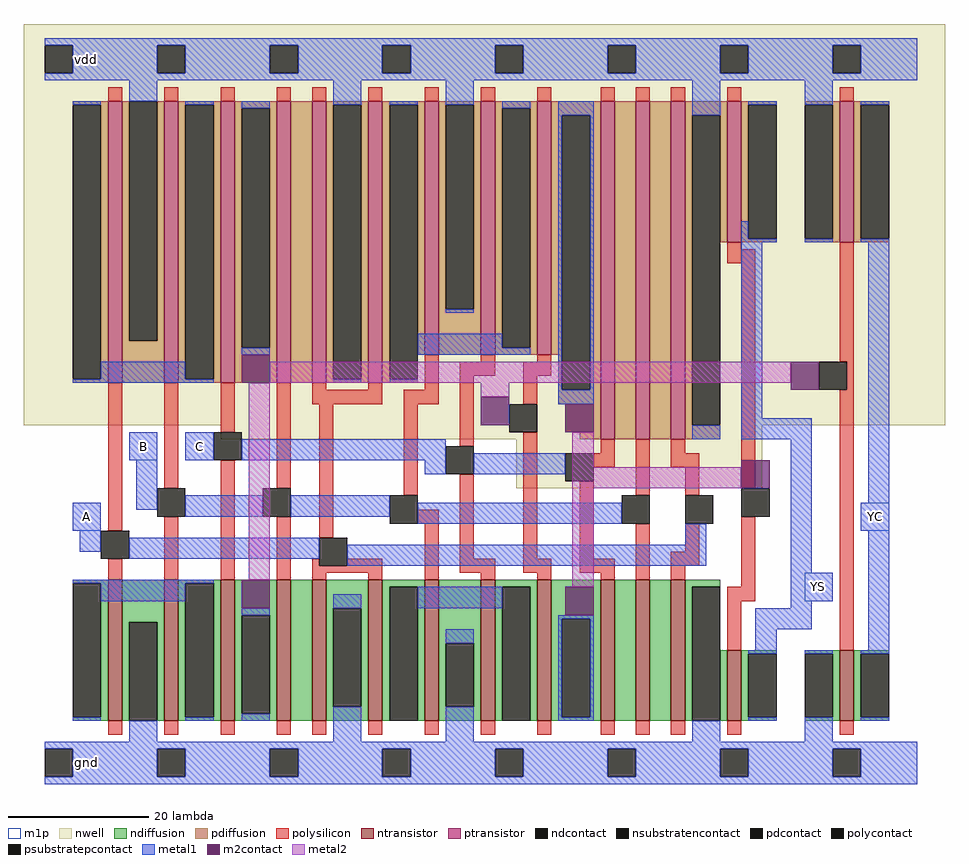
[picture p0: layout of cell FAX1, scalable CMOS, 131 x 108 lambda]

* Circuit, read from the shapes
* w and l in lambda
.subckt FAX1 A B C YS YC
M1 gnd A n1 gnd nfet w=20 l=2
M2 n1 B gnd gnd nfet w=20 l=2
M3 n2 C n1 gnd nfet w=20 l=2
M4 n3 B n2 gnd nfet w=20 l=2
M5 gnd A n3 gnd nfet w=20 l=2
M6 n4 A gnd gnd nfet w=20 l=2
M7 gnd B n4 gnd nfet w=20 l=2
M8 n4 C gnd gnd nfet w=20 l=2
M9 n5 n2 n4 gnd nfet w=20 l=2
M10 n6 C n5 gnd nfet w=20 l=2
M11 n7 B n6 gnd nfet w=20 l=2
M12 gnd A n7 gnd nfet w=20 l=2
M13 YS n5 gnd gnd nfet w=10 l=2
M14 YC n2 gnd gnd nfet w=10 l=2
M15 vdd A n8 vdd pfet w=40 l=2
M16 n8 B vdd vdd pfet w=40 l=2
M17 n2 C n8 vdd pfet w=40 l=2
M18 n9 B n2 vdd pfet w=40 l=2
M19 vdd A n9 vdd pfet w=40 l=2
M20 n10 A vdd vdd pfet w=40 l=2
M21 vdd B n10 vdd pfet w=36 l=2
M22 n10 C vdd vdd pfet w=36 l=2
M23 n5 n2 n10 vdd pfet w=36 l=2
M24 n11 C n5 vdd pfet w=48 l=2
M25 n12 B n11 vdd pfet w=48 l=2
M26 vdd A n12 vdd pfet w=48 l=2
M27 YS n5 vdd vdd pfet w=20 l=2
M28 YC n2 vdd vdd pfet w=20 l=2
.ends

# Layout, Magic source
magic
tech scmos
magscale 1 2
<< nwell >>
rect -10 96 252 210
rect 46 92 200 96
rect 130 78 200 92
<< ntransistor >>
rect 14 12 18 52
rect 30 12 34 52
rect 46 12 50 52
rect 62 12 66 52
rect 72 12 76 52
rect 88 12 92 52
rect 104 12 108 52
rect 120 12 124 52
rect 136 12 140 52
rect 154 12 158 52
rect 164 12 168 52
rect 174 12 178 52
rect 190 12 194 32
rect 222 12 226 32
<< ptransistor >>
rect 14 108 18 188
rect 30 108 34 188
rect 46 108 50 188
rect 62 108 66 188
rect 72 108 76 188
rect 88 108 92 188
rect 104 116 108 188
rect 120 116 124 188
rect 136 116 140 188
rect 154 92 158 188
rect 164 92 168 188
rect 174 92 178 188
rect 190 148 194 188
rect 222 148 226 188
<< ndiffusion >>
rect 4 51 14 52
rect 12 13 14 51
rect 4 12 14 13
rect 18 40 30 52
rect 18 12 20 40
rect 28 12 30 40
rect 34 51 46 52
rect 34 13 36 51
rect 44 13 46 51
rect 34 12 46 13
rect 50 42 62 52
rect 50 14 52 42
rect 60 14 62 42
rect 50 12 62 14
rect 66 12 72 52
rect 76 44 88 52
rect 76 16 78 44
rect 86 16 88 44
rect 76 12 88 16
rect 92 50 104 52
rect 92 12 94 50
rect 102 12 104 50
rect 108 34 120 52
rect 108 16 110 34
rect 118 16 120 34
rect 108 12 120 16
rect 124 50 136 52
rect 124 12 126 50
rect 134 12 136 50
rect 140 41 154 52
rect 140 13 143 41
rect 151 13 154 41
rect 140 12 154 13
rect 158 12 164 52
rect 168 12 174 52
rect 178 50 188 52
rect 178 12 180 50
rect 188 12 190 32
rect 194 31 204 32
rect 194 13 196 31
rect 194 12 204 13
rect 212 31 222 32
rect 220 13 222 31
rect 212 12 222 13
rect 226 31 236 32
rect 226 13 228 31
rect 226 12 236 13
<< pdiffusion >>
rect 4 187 14 188
rect 12 109 14 187
rect 4 108 14 109
rect 18 120 20 188
rect 28 120 30 188
rect 18 108 30 120
rect 34 187 46 188
rect 34 109 36 187
rect 44 109 46 187
rect 34 108 46 109
rect 50 186 62 188
rect 50 118 52 186
rect 60 118 62 186
rect 50 108 62 118
rect 66 108 72 188
rect 76 187 88 188
rect 76 109 78 187
rect 86 109 88 187
rect 76 108 88 109
rect 92 187 104 188
rect 92 109 94 187
rect 102 116 104 187
rect 108 187 120 188
rect 108 129 110 187
rect 118 129 120 187
rect 108 116 120 129
rect 124 186 136 188
rect 124 118 126 186
rect 134 118 136 186
rect 124 116 136 118
rect 140 184 154 188
rect 140 116 143 184
rect 92 108 102 109
rect 142 106 143 116
rect 151 106 154 184
rect 142 102 154 106
rect 144 94 154 102
rect 148 92 154 94
rect 158 92 164 188
rect 168 92 174 188
rect 178 184 190 188
rect 178 96 180 184
rect 188 148 190 184
rect 194 187 204 188
rect 194 149 196 187
rect 194 148 204 149
rect 212 187 222 188
rect 220 149 222 187
rect 212 148 222 149
rect 226 187 236 188
rect 226 149 228 187
rect 226 148 236 149
rect 178 92 188 96
<< ndcontact >>
rect 4 13 12 51
rect 20 12 28 40
rect 36 13 44 51
rect 52 14 60 42
rect 78 16 86 44
rect 94 12 102 50
rect 110 16 118 34
rect 126 12 134 50
rect 143 13 151 41
rect 180 12 188 50
rect 196 13 204 31
rect 212 13 220 31
rect 228 13 236 31
<< pdcontact >>
rect 4 109 12 187
rect 20 120 28 188
rect 36 109 44 187
rect 52 118 60 186
rect 78 109 86 187
rect 94 109 102 187
rect 110 129 118 187
rect 126 118 134 186
rect 143 106 151 184
rect 180 96 188 184
rect 196 149 204 187
rect 212 149 220 187
rect 228 149 236 187
<< psubstratepcontact >>
rect -4 -4 4 4
rect 28 -4 36 4
rect 60 -4 68 4
rect 92 -4 100 4
rect 124 -4 132 4
rect 156 -4 164 4
rect 188 -4 196 4
rect 220 -4 228 4
<< nsubstratencontact >>
rect -4 196 4 204
rect 28 196 36 204
rect 60 196 68 204
rect 92 196 100 204
rect 124 196 132 204
rect 156 196 164 204
rect 188 196 196 204
rect 220 196 228 204
<< polysilicon >>
rect 14 188 18 192
rect 30 188 34 192
rect 46 188 50 192
rect 62 188 66 192
rect 72 188 76 192
rect 88 188 92 192
rect 104 188 108 192
rect 120 188 124 192
rect 136 188 140 192
rect 154 188 158 192
rect 164 188 168 192
rect 174 188 178 192
rect 190 188 194 192
rect 222 188 226 192
rect 14 66 18 108
rect 30 78 34 108
rect 46 94 50 108
rect 14 52 18 58
rect 30 52 34 70
rect 46 52 50 86
rect 62 78 66 108
rect 72 106 76 108
rect 88 106 92 108
rect 104 106 108 116
rect 120 114 124 116
rect 136 114 140 116
rect 72 102 92 106
rect 98 102 108 106
rect 114 110 124 114
rect 132 110 140 114
rect 62 52 66 70
rect 74 64 78 102
rect 98 76 102 102
rect 114 90 118 110
rect 132 102 136 110
rect 102 68 108 72
rect 72 56 74 58
rect 82 56 92 58
rect 72 54 92 56
rect 72 52 76 54
rect 88 52 92 54
rect 104 52 108 68
rect 114 58 118 82
rect 132 58 136 94
rect 190 146 194 148
rect 190 142 198 146
rect 154 88 158 92
rect 152 84 158 88
rect 148 58 152 80
rect 164 76 168 92
rect 174 88 178 92
rect 174 84 182 88
rect 114 54 124 58
rect 132 54 140 58
rect 148 54 158 58
rect 120 52 124 54
rect 136 52 140 54
rect 154 52 158 54
rect 164 52 168 68
rect 178 76 182 84
rect 194 78 198 142
rect 222 114 226 148
rect 224 106 226 114
rect 178 60 182 68
rect 174 56 182 60
rect 174 52 178 56
rect 194 50 198 70
rect 190 46 198 50
rect 190 32 194 46
rect 222 32 226 106
rect 14 8 18 12
rect 30 8 34 12
rect 46 8 50 12
rect 62 8 66 12
rect 72 8 76 12
rect 88 8 92 12
rect 104 8 108 12
rect 120 8 124 12
rect 136 8 140 12
rect 154 8 158 12
rect 164 8 168 12
rect 174 8 178 12
rect 190 8 194 12
rect 222 8 226 12
<< polycontact >>
rect 44 86 52 94
rect 28 70 36 78
rect 12 58 20 66
rect 58 70 66 78
rect 128 94 136 102
rect 110 82 118 90
rect 94 68 102 76
rect 74 56 82 64
rect 144 80 152 88
rect 160 68 168 76
rect 216 106 224 114
rect 178 68 186 76
rect 194 70 202 78
<< metal1 >>
rect -4 204 244 206
rect 4 196 28 204
rect 36 196 60 204
rect 68 196 92 204
rect 100 196 124 204
rect 132 196 156 204
rect 164 196 188 204
rect 196 196 220 204
rect 228 196 244 204
rect -4 194 244 196
rect 20 188 28 194
rect 4 187 12 188
rect 36 187 44 188
rect 12 109 36 114
rect 4 108 44 109
rect 52 186 60 188
rect 52 116 60 118
rect 78 187 86 194
rect 78 108 86 109
rect 94 187 102 188
rect 110 187 118 194
rect 110 128 118 129
rect 126 186 134 188
rect 102 118 126 122
rect 102 116 134 118
rect 142 184 152 188
rect 94 108 102 109
rect 142 106 143 184
rect 151 106 152 184
rect 142 102 152 106
rect 180 184 188 194
rect 196 187 204 188
rect 20 86 28 94
rect 36 86 44 94
rect 180 92 188 96
rect 194 149 196 154
rect 194 148 204 149
rect 212 187 220 194
rect 212 148 220 149
rect 228 187 236 188
rect 228 148 236 149
rect 194 98 200 148
rect 194 92 214 98
rect 52 86 110 92
rect 4 66 12 74
rect 22 72 28 86
rect 104 82 110 86
rect 118 82 144 88
rect 36 70 58 76
rect 66 70 94 76
rect 102 68 160 74
rect 6 60 12 66
rect 20 58 74 64
rect 178 62 184 68
rect 82 56 184 62
rect 208 54 214 92
rect 230 74 236 148
rect 228 66 236 74
rect 4 51 44 52
rect 12 46 36 51
rect 4 12 12 13
rect 36 12 44 13
rect 52 42 60 44
rect 52 12 60 14
rect 78 44 86 48
rect 20 6 28 12
rect 78 6 86 16
rect 102 44 126 50
rect 110 34 118 38
rect 110 6 118 16
rect 142 41 152 42
rect 142 13 143 41
rect 151 13 152 41
rect 142 12 152 13
rect 208 46 220 54
rect 208 44 214 46
rect 198 38 214 44
rect 198 32 204 38
rect 230 32 236 66
rect 196 31 204 32
rect 196 12 204 13
rect 212 31 220 32
rect 180 6 188 12
rect 212 6 220 13
rect 228 31 236 32
rect 228 12 236 13
rect -4 4 244 6
rect 4 -4 28 4
rect 36 -4 60 4
rect 68 -4 92 4
rect 100 -4 124 4
rect 132 -4 156 4
rect 164 -4 188 4
rect 196 -4 220 4
rect 228 -4 244 4
rect -4 -6 244 -4
<< m2contact >>
rect 52 108 60 116
rect 120 96 128 104
rect 144 94 152 102
rect 208 106 216 114
rect 194 78 202 86
rect 52 44 60 52
rect 144 42 152 50
<< metal2 >>
rect 60 108 208 114
rect 54 52 60 108
rect 120 104 128 108
rect 146 84 152 94
rect 146 78 194 84
rect 146 50 152 78
<< m1p >>
rect 20 86 28 94
rect 36 86 44 94
rect 4 66 12 74
rect 228 66 236 74
rect 212 46 220 54
<< labels >>
rlabel metal1 8 0 8 0 4 gnd
rlabel metal1 8 200 8 200 4 vdd
rlabel metal1 8 70 8 70 4 A
port 1 se
rlabel metal1 24 90 24 90 4 B
port 2 se
rlabel metal1 40 90 40 90 4 C
port 3 se
rlabel metal1 232 70 232 70 4 YC
port 5 se
rlabel metal1 216 50 216 50 4 YS
port 4 se
<< end >>
